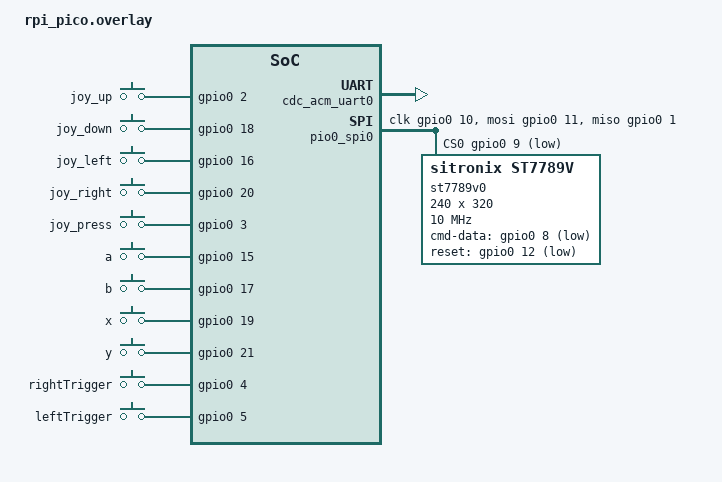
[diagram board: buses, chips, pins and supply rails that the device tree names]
#include <zephyr/dt-bindings/input/input-event-codes.h>

/ {
    //USART1 = PA9, PA10
    //SPI1 NSS = PA4/NC, SCK = PA5, MISO = PA6/NC, DIN = PA7, DC = PB14, RST = PB15, CS = PB13
    //PWM PA8
    //QDEC = PB6, PB7
    

    
        chosen {
        zephyr,display = &st7789v0;
        zephyr,console = &cdc_acm_uart0;
        xaxis = &XAxisStepper0;
        };
    
        buttons {
            debounce-interval-ms = <50>;
            status = "okay";
            compatible = "gpio-keys";
    
            joy_up: button_1 {
                status = "okay";
                
                gpios = <&gpio0 2 (GPIO_PULL_DOWN | GPIO_ACTIVE_HIGH) >;
                
                zephyr,code = <0x133>;
                //zephyr,code = <BTN_0>;
            };
    
            joy_down: button_2 {
                status = "okay";
                
                gpios = <&gpio0 18 (GPIO_PULL_DOWN | GPIO_ACTIVE_HIGH) >;
                
                zephyr,code = <0x130>;
                //zephyr,code = <BTN_0>;
            };

            joy_left: button_3 {
                status = "okay";
                
                gpios = <&gpio0 16 (GPIO_PULL_DOWN | GPIO_ACTIVE_HIGH) >;
                
                zephyr,code = <0x110>;
                //zephyr,code = <BTN_0>;
            };

            joy_right: button_4 {
                status = "okay";
                
                gpios = <&gpio0 20 (GPIO_PULL_DOWN | GPIO_ACTIVE_HIGH) >;
                
                zephyr,code = <0x111>;
                //zephyr,code = <BTN_0>;
            };

            joy_press: button_5 {
                status = "okay";
                
                gpios = <&gpio0 3 (GPIO_PULL_DOWN | GPIO_ACTIVE_HIGH) >;
                
                zephyr,code = <0x112>;
                //zephyr,code = <BTN_0>;
            };

            a: button_6 {
                status = "okay";
                
                gpios = <&gpio0 15 (GPIO_PULL_DOWN | GPIO_ACTIVE_HIGH) >;
                
                zephyr,code = <0x100>;
                //zephyr,code = <BTN_0>;
            };

            b: button_7 {
                status = "okay";
                
                gpios = <&gpio0 17 (GPIO_PULL_DOWN | GPIO_ACTIVE_HIGH) >;
                
                zephyr,code = <0x101>;
                //zephyr,code = <BTN_0>;
            };

            x: button_8 {
                status = "okay";
                
                gpios = <&gpio0 19 (GPIO_PULL_DOWN | GPIO_ACTIVE_HIGH) >;
                
                zephyr,code = <0x102>;
                //zephyr,code = <BTN_0>;
            };

            y: button_9 {
                status = "okay";
                
                gpios = <&gpio0 21 (GPIO_PULL_DOWN | GPIO_ACTIVE_HIGH) >;
                
                zephyr,code = <0x103>;
                //zephyr,code = <BTN_0>;
            };
        };

        endstops {
            compatible = "gpio-keys";
            rightTrigger: button_10 {
                status = "okay";
                
                gpios = <&gpio0 4 (GPIO_PULL_DOWN | GPIO_ACTIVE_HIGH) >;
                
                zephyr,code = <0x100>;
                //zephyr,code = <BTN_0>;
            };

            leftTrigger: button_11 {
                status = "okay";
                
                gpios = <&gpio0 5 (GPIO_PULL_DOWN | GPIO_ACTIVE_HIGH) >;
                
                zephyr,code = <0x101>;
                //zephyr,code = <BTN_0>;
            };
    
        };

        
        
    
    };

    &gpio0 {
            

        XAxisStepper0: stepper0 {
            compatible = "VoidItsWarranty,stepper-motor";
            step-gpios = <&gpio0 0 GPIO_ACTIVE_HIGH>;
            dir-gpios = <&gpio0 6 GPIO_ACTIVE_HIGH>;
            enable-gpios = <&gpio0 7 GPIO_ACTIVE_HIGH>;
            max-speed = <2000>;
            max-acceleration = <200>;
            max-deceleration = <0>; //decel same as accel
            enable-polarity = <1>;
            dir-polarity = <1>;
        };
    };

    &usbd {
        cdc_acm_uart0: cdc_acm_uart0 {
            compatible = "zephyr,cdc-acm-uart";
        };
    };

    &pinctrl {

        pio0_spi0_default: pio0_spi0_default {
            group1 {
                pinmux = <PIO0_P10>, <PIO0_P11>;
            };
            group2 {
                pinmux = <PIO0_P1>;
                input-enable;
            };
        };

        backlight: backlight {
            gpios = <&gpio0 13 GPIO_ACTIVE_HIGH>;
            output-high;
        };
        
    };
    
    &pio0 {
        status = "okay";
    
        pio0_spi0: pio0_spi0 {
            pinctrl-0 = <&pio0_spi0_default>;
            pinctrl-names = "default";
    
            compatible = "raspberrypi,pico-spi-pio";
            status = "okay";
            #address-cells = <1>;
            #size-cells = <0>;
            clocks = <&clocks RPI_PICO_CLKID_CLK_SYS>;
            miso-gpios = <&gpio0 1 0>;
            cs-gpios = <&gpio0 9 GPIO_ACTIVE_LOW>;
            clk-gpios = <&gpio0 10 GPIO_ACTIVE_HIGH>;
            mosi-gpios = <&gpio0 11 GPIO_ACTIVE_HIGH>;
            st7789v0:st7789v@0 { 
                compatible = "sitronix,st7789v";
                spi-max-frequency = <10000000>;
                reg = <0>;
                cmd-data-gpios = <&gpio0 8 GPIO_ACTIVE_LOW>; /* PB14 */
                reset-gpios = <&gpio0 12 GPIO_ACTIVE_LOW>; /* PB15 */
                width = <240>;
                height = <320>;
                x-offset = <0>;
                y-offset = <0>;
                vcom = <0x19>;
                gctrl = <0x35>;
                vrhs = <0x12>;
                vdvs = <0x20>;
                mdac = <0x00>;
                gamma = <0x01>;
                colmod = <0x05>;
                lcm = <0x2c>;
                porch-param = [0c 0c 00 33 33];
                cmd2en-param = [5a 69 02 01];
                pwctrl1-param = [a4 a1];
                pvgam-param = [D0 04 0D 11 13 2B 3F 54 4C 18 0D 0B 1F 23];
                nvgam-param = [D0 04 0C 11 13 2C 3F 44 51 2F 1F 1F 20 23];
                ram-param = [00 F0];
                rgb-param = [CD 08 14];
            };
        };
    };
    
    
    // &spi1 {
    //     status = "okay";
    //     cs-gpios = <&gpiob 13 GPIO_ACTIVE_LOW>;	/* PB13 */
    
    //     //pinctrl-0 = <&spi1_sck_pb3 &spi1_mosi_pa7>;
    
        
    // };
    
    //&spi1 {
    //	pinctrl-0 = <&spi1_sck_pa5 &spi1_nss_pa4
    //		     &spi1_miso_pa6 &spi1_mosi_pa7>;
    //	pinctrl-names = "default";
    //	status = "okay";
    //};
